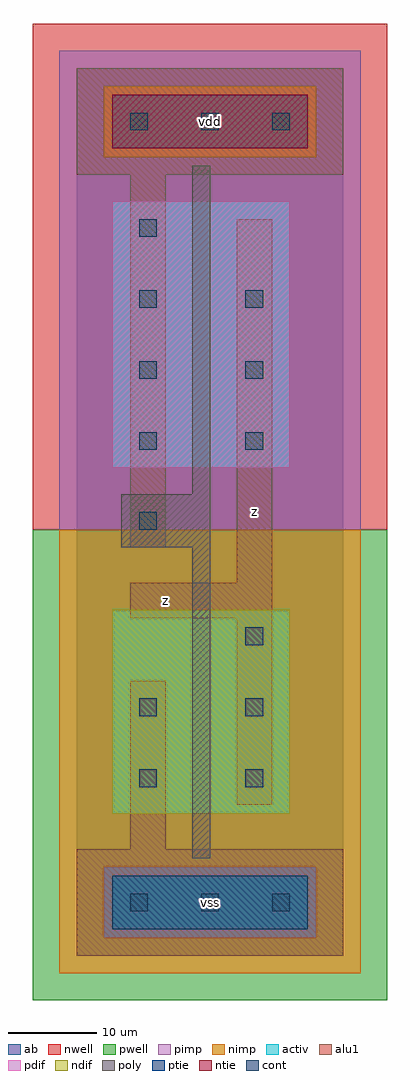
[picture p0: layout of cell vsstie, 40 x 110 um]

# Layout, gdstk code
import gdstk
lib = gdstk.Library(unit=1e-6, precision=1e-09)
def R(c, l, rs):  # rectangles x0, y0, x1, y1
    for r in rs: c.add(gdstk.rectangle(r[:2], r[2:], *l))
def A(c, l, x, y, w, h, nx, ny, dx, dy):  # array of equal rectangles
    R(c, l, [(x+i*dx, y+j*dy, x+i*dx+w, y+j*dy+h) for i in range(nx) for j in range(ny)])
ndif = (3, 0)
pdif = (4, 0)
ntie = (5, 0)
ptie = (6, 0)
cont = (25, 0)
pwell = (41, 0)
nwell = (42, 0)
activ = (43, 0)
pimp = (44, 0)
nimp = (45, 0)
poly = (46, 0)
alu1 = (49, 0)
ab = (63, 0)

vsstie = lib.new_cell('vsstie')
R(vsstie, ndif, [(4,16,24,39)])
R(vsstie, pdif, [(4,55,24,85)])
R(vsstie, ntie, [(4,91,26,97)])
R(vsstie, ptie, [(4,3,26,9)])
A(vsstie, cont, 6, 5, 2, 2, 3, 2, 8, 88)
A(vsstie, cont, 19, 19, 2, 2, 1, 3, 0, 8)
A(vsstie, cont, 7, 57, 2, 2, 1, 4, 0, 8)
A(vsstie, cont, 19, 57, 2, 2, 1, 3, 0, 8)
R(vsstie, cont, [(7,19,9,21), (7,27,9,29), (7,48,9,50)])
R(vsstie, pwell, [(-5,-5,35,48)])
R(vsstie, nwell, [(-5,48,35,105)])
R(vsstie, activ, [(4,3,26,9), (4,16,24,39), (4,55,24,85), (4,91,26,97)])
R(vsstie, pimp, [(3,2,27,10), (-2,48,32,90), (-2,90,3,98), (27,90,32,98), (-2,98,32,102)])
R(vsstie, nimp, [(-2,-2,32,2), (-2,2,3,10), (27,2,32,10), (-2,10,32,48), (3,90,27,98)])
R(vsstie, poly, [(13,11,15,46), (5,46,15,52), (13,52,15,89)])
R(vsstie, alu1, [(0,0,30,12), (6,12,10,31), (18,17,22,38), (6,38,22,42), (18,42,22,83), (6,46,10,88), (0,88,30,100)])
R(vsstie, ab, [(0,0,30,100)])
vsstie.add(gdstk.Label('vss', (15,6), layer=49, texttype=0))
vsstie.add(gdstk.Label('z', (10,40), layer=49, texttype=0))
vsstie.add(gdstk.Label('vdd', (15,94), layer=49, texttype=0))
vsstie.add(gdstk.Label('z', (20,50), layer=49, texttype=0))

lib.write_gds('vsstie.gds')
